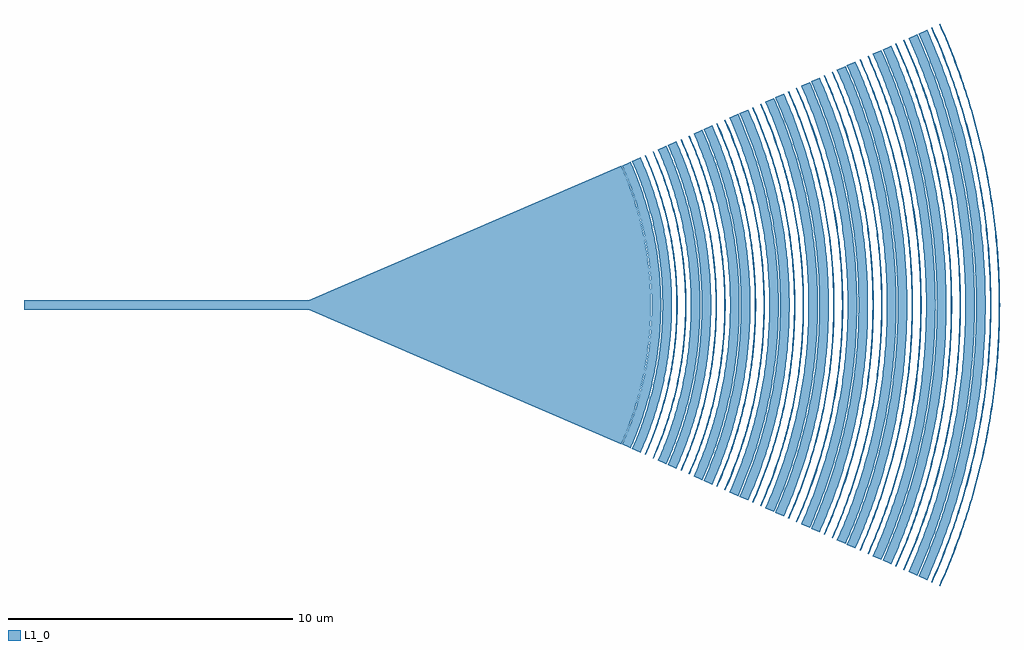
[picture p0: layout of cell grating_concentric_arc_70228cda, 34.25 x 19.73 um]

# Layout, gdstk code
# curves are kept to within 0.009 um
import gdstk
lib = gdstk.Library(unit=1e-6, precision=1e-09)
def R(c, l, rs):  # rectangles x0, y0, x1, y1
    for r in rs: c.add(gdstk.rectangle(r[:2], r[2:], *l))
def P(c, l, *ps):  # polygons
    for p in ps: c.add(gdstk.Polygon(p, *l))
L1_0 = (1, 0)

straight_3aa2beef = lib.new_cell('straight_3aa2beef')
R(straight_3aa2beef, L1_0, [(0,-0.175,10,0.175)])

ring_bc5f6871_transform_ = lib.new_cell('ring_bc5f6871_transform_660b93e4')
P(ring_bc5f6871_transform_, L1_0, [(10.986,-4.891),(11.202,-4.375),(11.416,-3.783),(11.579,-3.248),(11.718,-2.705),(11.831,-2.157),(11.919,-1.604),(11.992,-0.909),(12.019,-0.42),(12.023,0.28),(11.992,0.909),(11.919,1.604),(11.792,2.363),(11.652,2.977),(11.459,3.65),(11.277,4.179),(10.986,4.891),(11.288,5.026),(11.561,4.361),(11.795,3.681),(11.989,2.989),(12.143,2.287),(12.246,1.648),(12.321,0.934),(12.353,0.288),(12.349,-0.431),(12.296,-1.22),(12.181,-2.075),(12.023,-2.85),(11.816,-3.613),(11.561,-4.361),(11.288,-5.026)])

ring_9422eaae_transform_ = lib.new_cell('ring_9422eaae_transform_814ac0fe')
P(ring_9422eaae_transform_, L1_0, [(11.335,-5.047),(11.532,-4.581),(11.732,-4.04),(11.928,-3.42),(12.074,-2.862),(12.22,-2.155),(12.307,-1.584),(12.373,-0.938),(12.401,-0.433),(12.405,0.289),(12.373,0.938),(12.307,1.584),(12.194,2.297),(12.04,3.002),(11.845,3.697),(11.61,4.379),(11.335,5.047),(11.637,5.181),(11.892,4.565),(12.16,3.795),(12.342,3.154),(12.49,2.503),(12.604,1.846),(12.69,1.11),(12.733,0.37),(12.733,-0.37),(12.676,-1.258),(12.57,-2.066),(12.395,-2.938),(12.182,-3.724),(11.97,-4.357),(11.637,-5.181)])

ring_9049fbea_transform_ = lib.new_cell('ring_9049fbea_transform_e01216b0')
P(ring_9049fbea_transform_, L1_0, [(11.782,-5.246),(11.93,-4.901),(12.067,-4.552),(12.17,-4.27),(12.289,-3.914),(12.377,-3.627),(12.496,-3.193),(12.631,-2.608),(12.688,-2.313),(12.75,-1.943),(12.792,-1.646),(12.834,-1.273),(12.866,-0.9),(12.883,-0.6),(12.897,-0.075),(12.894,0.3),(12.883,0.6),(12.866,0.9),(12.834,1.273),(12.792,1.646),(12.75,1.943),(12.646,2.534),(12.567,2.901),(12.496,3.193),(12.334,3.771),(12.219,4.128),(12.067,4.552),(11.93,4.901),(11.782,5.246),(11.819,5.262),(12.051,4.706),(12.183,4.354),(12.281,4.069),(12.394,3.71),(12.477,3.421),(12.571,3.057),(12.655,2.69),(12.741,2.247),(12.79,1.949),(12.841,1.577),(12.874,1.277),(12.906,0.902),(12.923,0.602),(12.934,0.301),(12.937,-0.075),(12.932,-0.376),(12.911,-0.827),(12.888,-1.128),(12.85,-1.502),(12.801,-1.875),(12.754,-2.172),(12.639,-2.763),(12.535,-3.203),(12.457,-3.494),(12.35,-3.854),(12.208,-4.283),(12.023,-4.777),(11.819,-5.262)])

ring_10f3b8c3_transform_ = lib.new_cell('ring_10f3b8c3_transform_cc2e47a6')
P(ring_10f3b8c3_transform_, L1_0, [(12.061,-5.37),(12.213,-5.017),(12.326,-4.731),(12.533,-4.153),(12.626,-3.86),(12.733,-3.491),(12.882,-2.895),(12.975,-2.444),(13.028,-2.141),(13.114,-1.533),(13.153,-1.151),(13.181,-0.768),(13.195,-0.461),(13.203,-0.077),(13.201,0.23),(13.189,0.614),(13.171,0.921),(13.131,1.38),(13.052,1.989),(12.989,2.368),(12.93,2.67),(12.865,2.97),(12.792,3.269),(12.626,3.86),(12.533,4.153),(12.407,4.516),(12.242,4.946),(12.061,5.37),(12.098,5.386),(12.336,4.818),(12.571,4.166),(12.687,3.798),(12.772,3.502),(12.85,3.204),(12.954,2.753),(13.042,2.3),(13.092,1.996),(13.135,1.69),(13.186,1.231),(13.229,0.616),(13.241,0.231),(13.243,-0.077),(13.235,-0.462),(13.221,-0.77),(13.193,-1.154),(13.162,-1.461),(13.125,-1.767),(13.068,-2.148),(13,-2.527),(12.921,-2.904),(12.772,-3.502),(12.642,-3.945),(12.522,-4.312),(12.336,-4.818),(12.16,-5.245),(12.098,-5.386)])

ring_108499d5_transform_ = lib.new_cell('ring_108499d5_transform_c5bb48a8')
P(ring_108499d5_transform_, L1_0, [(12.243,-5.451),(12.484,-4.876),(12.722,-4.216),(12.883,-3.694),(13.041,-3.091),(13.185,-2.404),(13.282,-1.788),(13.351,-1.168),(13.394,-0.468),(13.4,0.234),(13.364,1.013),(13.282,1.788),(13.156,2.557),(12.985,3.318),(12.77,4.067),(12.512,4.803),(12.243,5.451),(12.545,5.585),(12.876,4.772),(13.132,4.015),(13.324,3.322),(13.48,2.62),(13.62,1.753),(13.693,1.038),(13.73,0.24),(13.724,-0.479),(13.665,-1.356),(13.563,-2.148),(13.398,-3.011),(13.178,-3.862),(12.904,-4.697),(12.545,-5.585)])

ring_e48c460f_transform_ = lib.new_cell('ring_e48c460f_transform_258c2d6b')
P(ring_e48c460f_transform_, L1_0, [(12.592,-5.606),(12.84,-5.015),(13.059,-4.412),(13.272,-3.722),(13.431,-3.101),(13.575,-2.394),(13.661,-1.839),(13.732,-1.201),(13.776,-0.481),(13.782,0.241),(13.745,1.042),(13.661,1.839),(13.531,2.63),(13.375,3.335),(13.158,4.107),(12.869,4.94),(12.592,5.606),(12.894,5.741),(13.177,5.058),(13.473,4.205),(13.675,3.494),(13.855,2.693),(13.999,1.802),(14.074,1.066),(14.112,0.246),(14.108,-0.411),(14.08,-0.985),(14.037,-1.475),(13.914,-2.37),(13.734,-3.255),(13.521,-4.048),(13.235,-4.904),(12.894,-5.741)])

ring_d2db16e5_transform_ = lib.new_cell('ring_d2db16e5_transform_b4624d32')
P(ring_d2db16e5_transform_, L1_0, [(13.039,-5.805),(13.171,-5.5),(13.325,-5.115),(13.468,-4.725),(13.6,-4.332),(13.787,-3.694),(13.944,-3.049),(14.011,-2.723),(14.084,-2.315),(14.134,-1.986),(14.186,-1.574),(14.219,-1.244),(14.249,-0.83),(14.267,-0.415),(14.273,-0.083),(14.261,0.581),(14.244,0.913),(14.219,1.244),(14.186,1.574),(14.134,1.986),(14.084,2.315),(13.995,2.805),(13.926,3.13),(13.829,3.533),(13.743,3.854),(13.625,4.252),(13.522,4.568),(13.384,4.96),(13.234,5.347),(13.039,5.805),(13.076,5.822),(13.208,5.516),(13.392,5.052),(13.613,4.423),(13.804,3.785),(13.908,3.382),(14,2.976),(14.066,2.649),(14.124,2.321),(14.174,1.992),(14.235,1.496),(14.266,1.164),(14.298,0.666),(14.311,0.25),(14.313,-0.083),(14.307,-0.416),(14.289,-0.832),(14.266,-1.164),(14.226,-1.579),(14.174,-1.992),(14.124,-2.321),(14.066,-2.649),(13.965,-3.139),(13.868,-3.543),(13.759,-3.945),(13.613,-4.423),(13.506,-4.739),(13.302,-5.284),(13.076,-5.822)])

ring_d92fad2c_transform_ = lib.new_cell('ring_d92fad2c_transform_edd6bd95')
P(ring_d92fad2c_transform_, L1_0, [(13.318,-5.93),(13.453,-5.618),(13.58,-5.304),(13.7,-4.986),(13.839,-4.586),(13.99,-4.1),(14.104,-3.691),(14.186,-3.362),(14.278,-2.948),(14.399,-2.281),(14.437,-2.029),(14.499,-1.524),(14.537,-1.102),(14.559,-0.763),(14.573,-0.424),(14.579,0),(14.573,0.424),(14.559,0.763),(14.537,1.102),(14.499,1.524),(14.437,2.029),(14.399,2.281),(14.278,2.948),(14.146,3.527),(14.06,3.855),(13.942,4.262),(13.812,4.666),(13.641,5.145),(13.453,5.618),(13.318,5.93),(13.355,5.946),(13.49,5.634),(13.648,5.239),(13.766,4.92),(13.929,4.437),(14.053,4.03),(14.121,3.784),(14.225,3.371),(14.317,2.956),(14.397,2.539),(14.465,2.119),(14.51,1.782),(14.556,1.359),(14.589,0.935),(14.607,0.595),(14.617,0.255),(14.619,-0.085),(14.613,-0.425),(14.599,-0.765),(14.577,-1.105),(14.53,-1.613),(14.465,-2.119),(14.397,-2.539),(14.334,-2.873),(14.263,-3.206),(14.185,-3.537),(14.076,-3.948),(13.955,-4.355),(13.85,-4.679),(13.648,-5.239),(13.457,-5.712),(13.355,-5.946)])

ring_c6a823f2_transform_ = lib.new_cell('ring_c6a823f2_transform_b9f9d562')
P(ring_c6a823f2_transform_, L1_0, [(13.5,-6.011),(13.827,-5.216),(14.028,-4.648),(14.229,-3.991),(14.399,-3.324),(14.538,-2.651),(14.668,-1.801),(14.736,-1.117),(14.772,-0.43),(14.772,0.43),(14.722,1.288),(14.622,2.142),(14.49,2.904),(14.318,3.658),(14.081,4.485),(13.827,5.216),(13.5,6.011),(13.802,6.145),(14.136,5.332),(14.368,4.669),(14.593,3.91),(14.796,3.055),(14.961,2.103),(15.058,1.229),(15.099,0.527),(15.104,-0.352),(15.058,-1.229),(15.006,-1.754),(14.935,-2.277),(14.778,-3.141),(14.546,-4.08),(14.422,-4.501),(14.197,-5.167),(14.008,-5.659),(13.802,-6.145)])

ring_ff4eb2f2_transform_ = lib.new_cell('ring_ff4eb2f2_transform_92466b3c')
P(ring_ff4eb2f2_transform_, L1_0, [(13.849,-6.166),(14.153,-5.433),(14.418,-4.685),(14.597,-4.094),(14.791,-3.324),(14.945,-2.546),(15.047,-1.848),(15.117,-1.145),(15.156,-0.353),(15.151,0.529),(15.11,1.233),(15,2.197),(14.847,3.066),(14.666,3.838),(14.418,4.685),(14.153,5.433),(13.849,6.166),(14.151,6.3),(14.429,5.635),(14.732,4.787),(15.008,3.835),(15.188,3.044),(15.339,2.156),(15.439,1.26),(15.486,0.36),(15.486,-0.36),(15.439,-1.26),(15.385,-1.798),(15.313,-2.334),(15.239,-2.778),(15.113,-3.397),(14.89,-4.27),(14.732,-4.787),(14.556,-5.298),(14.362,-5.803),(14.151,-6.3)])

ring_7f2c7f43_transform_ = lib.new_cell('ring_7f2c7f43_transform_a85783c4')
P(ring_7f2c7f43_transform_, L1_0, [(14.296,-6.365),(14.44,-6.031),(14.577,-5.693),(14.736,-5.267),(14.883,-4.836),(15.017,-4.401),(15.116,-4.05),(15.206,-3.697),(15.288,-3.343),(15.427,-2.628),(15.484,-2.268),(15.543,-1.817),(15.581,-1.455),(15.617,-1.001),(15.636,-0.637),(15.649,-0.091),(15.645,0.364),(15.632,0.728),(15.611,1.092),(15.581,1.455),(15.543,1.817),(15.484,2.268),(15.427,2.628),(15.344,3.075),(15.248,3.52),(15.162,3.874),(15.043,4.313),(14.965,4.575),(14.826,5.009),(14.674,5.438),(14.475,5.946),(14.296,6.365),(14.333,6.381),(14.512,5.962),(14.647,5.622),(14.774,5.28),(14.949,4.761),(15.056,4.412),(15.178,3.972),(15.287,3.529),(15.365,3.173),(15.451,2.724),(15.51,2.364),(15.561,2.003),(15.603,1.64),(15.651,1.094),(15.672,0.73),(15.687,0.274),(15.689,-0.091),(15.676,-0.639),(15.657,-1.003),(15.593,-1.731),(15.549,-2.093),(15.496,-2.454),(15.418,-2.904),(15.327,-3.351),(15.201,-3.884),(15.106,-4.237),(15.03,-4.5),(14.864,-5.021),(14.647,-5.622),(14.442,-6.13),(14.333,-6.381)])

ring_7084ca4e_transform_ = lib.new_cell('ring_7084ca4e_transform_f66058c9')
P(ring_7084ca4e_transform_, L1_0, [(14.575,-6.489),(14.758,-6.063),(14.895,-5.718),(15.055,-5.282),(15.174,-4.93),(15.311,-4.487),(15.435,-4.04),(15.525,-3.679),(15.606,-3.317),(15.696,-2.862),(15.758,-2.496),(15.836,-1.944),(15.877,-1.575),(15.909,-1.206),(15.933,-0.835),(15.948,-0.464),(15.955,0),(15.948,0.464),(15.933,0.835),(15.909,1.206),(15.877,1.575),(15.836,1.944),(15.758,2.496),(15.696,2.862),(15.625,3.226),(15.525,3.679),(15.435,4.04),(15.337,4.398),(15.23,4.753),(15.055,5.282),(14.928,5.631),(14.758,6.063),(14.575,6.489),(14.612,6.506),(14.899,5.819),(15.062,5.383),(15.212,4.943),(15.323,4.587),(15.45,4.14),(15.564,3.689),(15.626,3.416),(15.701,3.052),(15.798,2.502),(15.852,2.134),(15.907,1.672),(15.942,1.301),(15.973,0.837),(15.988,0.465),(15.995,0),(15.988,-0.465),(15.973,-0.837),(15.942,-1.301),(15.907,-1.672),(15.852,-2.134),(15.798,-2.502),(15.701,-3.052),(15.626,-3.416),(15.497,-3.96),(15.375,-4.409),(15.212,-4.943),(15.093,-5.295),(14.899,-5.819),(14.687,-6.335),(14.612,-6.506)])

ring_89918972_transform_ = lib.new_cell('ring_89918972_transform_edba0638')
P(ring_89918972_transform_, L1_0, [(14.757,-6.57),(15.047,-5.877),(15.334,-5.081),(15.579,-4.272),(15.74,-3.634),(15.892,-2.898),(16.033,-1.969),(16.1,-1.314),(16.147,-0.47),(16.147,0.47),(16.1,1.314),(15.983,2.341),(15.839,3.174),(15.651,3.999),(15.392,4.902),(15.081,5.789),(14.757,6.57),(15.059,6.704),(15.423,5.818),(15.735,4.911),(15.994,3.988),(16.181,3.145),(16.31,2.389),(16.429,1.341),(16.477,0.479),(16.477,-0.479),(16.421,-1.437),(16.31,-2.389),(16.143,-3.333),(15.897,-4.359),(15.677,-5.094),(15.49,-5.638),(15.319,-6.086),(15.059,-6.704)])

ring_e80e56b2_transform_ = lib.new_cell('ring_e80e56b2_transform_6378aeb5')
P(ring_e80e56b2_transform_, L1_0, [(15.106,-6.726),(15.403,-6.016),(15.666,-5.292),(15.895,-4.558),(16.112,-3.72),(16.268,-2.966),(16.388,-2.206),(16.481,-1.345),(16.529,-0.481),(16.529,0.481),(16.481,1.345),(16.375,2.301),(16.232,3.155),(16.021,4.094),(15.756,5.018),(15.472,5.836),(15.106,6.726),(15.408,6.86),(15.746,6.044),(16.1,5.025),(16.365,4.08),(16.556,3.218),(16.702,2.347),(16.802,1.47),(16.859,0.491),(16.859,-0.491),(16.802,-1.47),(16.688,-2.444),(16.497,-3.507),(16.239,-4.554),(16.04,-5.212),(15.849,-5.768),(15.638,-6.318),(15.408,-6.86)])

ring_321dfc1c_transform_ = lib.new_cell('ring_321dfc1c_transform_615f536a')
P(ring_321dfc1c_transform_, L1_0, [(15.553,-6.925),(15.71,-6.561),(15.894,-6.101),(16.032,-5.73),(16.161,-5.355),(16.281,-4.978),(16.419,-4.502),(16.543,-4.022),(16.653,-3.54),(16.749,-3.054),(16.815,-2.663),(16.859,-2.369),(16.921,-1.878),(16.96,-1.484),(16.996,-0.99),(17.02,-0.396),(17.025,0),(17.02,0.396),(16.996,0.99),(16.96,1.484),(16.921,1.878),(16.859,2.369),(16.815,2.663),(16.749,3.054),(16.653,3.54),(16.566,3.926),(16.47,4.311),(16.338,4.788),(16.252,5.072),(16.065,5.636),(15.929,6.009),(15.748,6.469),(15.553,6.925),(15.589,6.941),(15.785,6.485),(15.967,6.023),(16.135,5.556),(16.23,5.273),(16.404,4.704),(16.509,4.321),(16.605,3.935),(16.692,3.548),(16.77,3.159),(16.855,2.67),(16.899,2.375),(16.961,1.882),(17,1.487),(17.036,0.992),(17.058,0.496),(17.065,0),(17.058,-0.496),(17.036,-0.992),(17,-1.487),(16.961,-1.882),(16.899,-2.375),(16.839,-2.768),(16.77,-3.159),(16.671,-3.645),(16.534,-4.225),(16.431,-4.608),(16.29,-5.084),(16.135,-5.556),(15.967,-6.023),(15.708,-6.668),(15.589,-6.941)])

ring_e9e801ea_transform_ = lib.new_cell('ring_e9e801ea_transform_d64e931f')
P(ring_e9e801ea_transform_, L1_0, [(15.832,-7.049),(15.992,-6.679),(16.143,-6.305),(16.251,-6.022),(16.451,-5.451),(16.573,-5.067),(16.714,-4.583),(16.84,-4.095),(16.952,-3.603),(17.031,-3.208),(17.101,-2.811),(17.176,-2.312),(17.225,-1.912),(17.273,-1.41),(17.307,-0.907),(17.326,-0.403),(17.33,-0.101),(17.326,0.403),(17.312,0.806),(17.281,1.309),(17.246,1.711),(17.189,2.212),(17.133,2.611),(17.049,3.109),(16.972,3.505),(16.816,4.193),(16.714,4.583),(16.573,5.067),(16.419,5.547),(16.251,6.022),(15.992,6.679),(15.832,7.049),(15.869,7.065),(16.068,6.601),(16.217,6.225),(16.391,5.751),(16.489,5.464),(16.612,5.079),(16.779,4.496),(16.879,4.104),(16.991,3.612),(17.089,3.116),(17.141,2.817),(17.215,2.317),(17.265,1.916),(17.313,1.413),(17.347,0.909),(17.366,0.404),(17.371,0),(17.366,-0.404),(17.347,-0.909),(17.313,-1.413),(17.265,-1.916),(17.215,-2.317),(17.141,-2.817),(17.032,-3.414),(16.97,-3.71),(16.855,-4.202),(16.725,-4.691),(16.612,-5.079),(16.457,-5.56),(16.253,-6.131),(15.99,-6.787),(15.869,-7.065)])

ring_fa41a8f5_transform_ = lib.new_cell('ring_fa41a8f5_transform_02f88ba3')
P(ring_fa41a8f5_transform_, L1_0, [(16.014,-7.13),(16.365,-6.282),(16.64,-5.514),(16.878,-4.734),(17.103,-3.844),(17.281,-2.943),(17.399,-2.136),(17.487,-1.223),(17.525,-0.408),(17.519,0.612),(17.463,1.528),(17.359,2.44),(17.188,3.445),(16.984,4.34),(16.703,5.32),(16.365,6.282),(16.014,7.13),(16.315,7.264),(16.52,6.786),(16.747,6.206),(17.017,5.42),(17.304,4.421),(17.511,3.51),(17.656,2.691),(17.782,1.66),(17.849,0.623),(17.855,-0.416),(17.823,-1.142),(17.782,-1.66),(17.656,-2.691),(17.469,-3.713),(17.224,-4.723),(17.017,-5.42),(16.818,-6.011),(16.598,-6.594),(16.315,-7.264)])

ring_5dd9466e_transform_ = lib.new_cell('ring_5dd9466e_transform_71c2ce95')
P(ring_5dd9466e_transform_, L1_0, [(16.363,-7.285),(16.722,-6.419),(17.035,-5.535),(17.274,-4.736),(17.476,-3.928),(17.657,-3.008),(17.778,-2.183),(17.868,-1.249),(17.907,-0.417),(17.901,0.625),(17.834,1.665),(17.707,2.699),(17.542,3.622),(17.328,4.535),(17.067,5.436),(16.759,6.322),(16.363,7.285),(16.665,7.42),(17.068,6.438),(17.349,5.637),(17.535,5.028),(17.674,4.516),(17.886,3.585),(18.049,2.644),(18.163,1.696),(18.211,1.061),(18.234,0.531),(18.237,-0.424),(18.181,-1.484),(18.118,-2.118),(18.049,-2.644),(17.865,-3.689),(17.75,-4.207),(17.592,-4.824),(17.413,-5.435),(17.213,-6.039),(16.953,-6.735),(16.665,-7.42)])

ring_66498925_transform_ = lib.new_cell('ring_66498925_transform_d37520c2')
P(ring_66498925_transform_, L1_0, [(16.81,-7.484),(16.938,-7.19),(17.14,-6.694),(17.291,-6.293),(17.467,-5.788),(17.565,-5.482),(17.717,-4.969),(17.854,-4.451),(17.976,-3.93),(18.083,-3.406),(18.157,-2.984),(18.236,-2.455),(18.3,-1.923),(18.348,-1.39),(18.381,-0.856),(18.4,-0.107),(18.398,0.321),(18.381,0.856),(18.356,1.284),(18.311,1.817),(18.25,2.349),(18.206,2.667),(18.121,3.195),(18.042,3.616),(17.953,4.035),(17.828,4.555),(17.688,5.072),(17.565,5.482),(17.433,5.889),(17.254,6.394),(17.061,6.893),(16.81,7.484),(16.846,7.5),(16.975,7.205),(17.216,6.609),(17.365,6.206),(17.505,5.8),(17.635,5.392),(17.756,4.98),(17.893,4.461),(18.038,3.834),(18.142,3.308),(18.214,2.885),(18.29,2.354),(18.34,1.928),(18.388,1.393),(18.421,0.858),(18.436,0.429),(18.441,0),(18.436,-0.429),(18.421,-0.858),(18.388,-1.393),(18.34,-1.928),(18.29,-2.354),(18.214,-2.885),(18.142,-3.308),(18.038,-3.834),(17.893,-4.461),(17.756,-4.98),(17.635,-5.392),(17.471,-5.902),(17.216,-6.609),(16.975,-7.205),(16.846,-7.5)])

ring_fd512b4f_transform_ = lib.new_cell('ring_fd512b4f_transform_8854f068')
P(ring_fd512b4f_transform_, L1_0, [(17.089,-7.609),(17.303,-7.108),(17.464,-6.704),(17.615,-6.296),(17.791,-5.781),(17.951,-5.261),(18.069,-4.842),(18.177,-4.42),(18.275,-3.996),(18.363,-3.569),(18.459,-3.034),(18.539,-2.496),(18.592,-2.064),(18.635,-1.63),(18.675,-1.088),(18.695,-0.653),(18.706,-0.109),(18.701,0.435),(18.681,0.979),(18.653,1.413),(18.615,1.847),(18.567,2.28),(18.493,2.819),(18.403,3.355),(18.32,3.783),(18.227,4.208),(18.097,4.736),(17.982,5.156),(17.857,5.573),(17.687,6.09),(17.503,6.602),(17.303,7.108),(17.089,7.609),(17.126,7.625),(17.34,7.124),(17.462,6.82),(17.653,6.309),(17.829,5.793),(17.959,5.377),(18.108,4.852),(18.216,4.429),(18.337,3.898),(18.442,3.363),(18.516,2.933),(18.579,2.501),(18.644,1.96),(18.693,1.416),(18.721,0.981),(18.744,0.327),(18.746,-0.109),(18.735,-0.654),(18.715,-1.09),(18.693,-1.416),(18.644,-1.96),(18.579,-2.501),(18.516,-2.933),(18.402,-3.577),(18.314,-4.004),(18.216,-4.429),(18.108,-4.852),(17.959,-5.377),(17.795,-5.897),(17.616,-6.412),(17.34,-7.124),(17.126,-7.625)])

ring_4e32d0f4_transform_ = lib.new_cell('ring_4e32d0f4_transform_96d36480')
P(ring_4e32d0f4_transform_, L1_0, [(17.271,-7.689),(17.65,-6.775),(17.946,-5.947),(18.203,-5.105),(18.421,-4.253),(18.599,-3.391),(18.751,-2.413),(18.843,-1.538),(18.9,-0.44),(18.894,0.66),(18.843,1.538),(18.79,2.085),(18.706,2.74),(18.537,3.715),(18.317,4.68),(18.014,5.737),(17.65,6.775),(17.271,7.689),(17.572,7.824),(17.958,6.893),(18.294,5.944),(18.58,4.978),(18.838,3.89),(19.016,2.898),(19.152,1.788),(19.224,0.671),(19.23,-0.448),(19.172,-1.565),(19.118,-2.122),(19.016,-2.898),(18.815,-3.999),(18.551,-5.086),(18.362,-5.731),(18.151,-6.368),(17.835,-7.206),(17.572,-7.824)])

ring_c16440bc_transform_ = lib.new_cell('ring_c16440bc_transform_3e68f9c9')
P(ring_c16440bc_transform_, L1_0, [(17.62,-7.845),(17.966,-7.017),(18.273,-6.173),(18.571,-5.208),(18.818,-4.229),(19.014,-3.239),(19.144,-2.351),(19.232,-1.457),(19.282,-0.449),(19.282,0.449),(19.248,1.233),(19.17,2.128),(19.05,3.017),(18.933,3.68),(18.818,4.229),(18.687,4.775),(18.509,5.424),(18.273,6.173),(18.086,6.702),(17.841,7.329),(17.62,7.845),(17.921,7.979),(18.355,6.924),(18.727,5.845),(19.007,4.857),(19.235,3.855),(19.41,2.843),(19.543,1.71),(19.609,0.571),(19.612,-0.456),(19.591,-1.027),(19.543,-1.71),(19.41,-2.843),(19.299,-3.519),(19.189,-4.079),(18.949,-5.077),(18.727,-5.845),(18.511,-6.495),(18.189,-7.349),(17.921,-7.979)])

ring_cf99d2fc_transform_ = lib.new_cell('ring_cf99d2fc_transform_d0d0eaf5')
P(ring_cf99d2fc_transform_, L1_0, [(18.067,-8.044),(18.293,-7.515),(18.463,-7.087),(18.623,-6.656),(18.773,-6.221),(18.946,-5.672),(19.042,-5.34),(19.189,-4.784),(19.32,-4.224),(19.435,-3.66),(19.515,-3.207),(19.6,-2.638),(19.656,-2.182),(19.711,-1.609),(19.743,-1.15),(19.768,-0.575),(19.776,-0.115),(19.771,0.46),(19.755,0.92),(19.72,1.494),(19.68,1.953),(19.615,2.524),(19.551,2.98),(19.456,3.547),(19.368,3.999),(19.243,4.561),(19.132,5.007),(18.978,5.562),(18.844,6.002),(18.699,6.439),(18.504,6.98),(18.293,7.515),(18.067,8.044),(18.103,8.06),(18.286,7.637),(18.459,7.209),(18.699,6.56),(18.847,6.124),(19.017,5.573),(19.171,5.017),(19.309,4.458),(19.407,4.007),(19.495,3.555),(19.59,2.986),(19.669,2.415),(19.72,1.957),(19.76,1.497),(19.795,0.922),(19.811,0.461),(19.816,-0.115),(19.808,-0.576),(19.783,-1.152),(19.751,-1.612),(19.708,-2.071),(19.624,-2.758),(19.554,-3.214),(19.474,-3.668),(19.359,-4.233),(19.2,-4.906),(19.049,-5.462),(18.917,-5.904),(18.737,-6.452),(18.5,-7.102),(18.286,-7.637),(18.103,-8.06)])

ring_c75a938b_transform_ = lib.new_cell('ring_c75a938b_transform_d5d8ba9d')
P(ring_c75a938b_transform_, L1_0, [(18.346,-8.168),(18.486,-7.847),(18.706,-7.306),(18.911,-6.759),(19.063,-6.317),(19.272,-5.648),(19.398,-5.198),(19.514,-4.745),(19.619,-4.29),(19.735,-3.717),(19.835,-3.142),(19.903,-2.679),(19.96,-2.215),(20.016,-1.634),(20.055,-1.051),(20.074,-0.584),(20.082,-0.117),(20.077,0.467),(20.055,1.051),(20.025,1.517),(19.984,1.983),(19.918,2.563),(19.853,3.026),(19.777,3.487),(19.691,3.946),(19.619,4.29),(19.486,4.858),(19.336,5.423),(19.205,5.871),(19.026,6.428),(18.79,7.088),(18.576,7.631),(18.346,8.168),(18.383,8.184),(18.613,7.646),(18.786,7.211),(18.909,6.882),(19.101,6.329),(19.277,5.771),(19.437,5.208),(19.58,4.641),(19.683,4.184),(19.775,3.725),(19.874,3.148),(19.958,2.568),(20.024,1.987),(20.065,1.52),(20.106,0.819),(20.117,0.468),(20.122,-0.117),(20.114,-0.585),(20.095,-1.053),(20.056,-1.637),(20.012,-2.103),(19.958,-2.568),(19.856,-3.263),(19.775,-3.725),(19.658,-4.298),(19.525,-4.868),(19.375,-5.434),(19.243,-5.883),(19.064,-6.44),(18.827,-7.102),(18.613,-7.646),(18.383,-8.184)])

ring_8dae4848_transform_ = lib.new_cell('ring_8dae4848_transform_5c84af6c')
P(ring_8dae4848_transform_, L1_0, [(18.528,-8.249),(18.934,-7.268),(19.252,-6.379),(19.528,-5.477),(19.788,-4.447),(19.973,-3.522),(20.13,-2.472),(20.232,-1.415),(20.276,-0.472),(20.276,0.472),(20.232,1.415),(20.144,2.354),(20.013,3.289),(19.788,4.447),(19.65,5.021),(19.463,5.704),(19.252,6.379),(19.058,6.937),(18.76,7.707),(18.528,8.249),(18.829,8.383),(19.285,7.274),(19.639,6.255),(19.97,5.103),(20.209,4.05),(20.411,2.869),(20.533,1.796),(20.599,0.719),(20.606,-0.48),(20.543,-1.677),(20.411,-2.869),(20.298,-3.579),(20.185,-4.168),(20.056,-4.753),(19.909,-5.335),(19.711,-6.026),(19.409,-6.937),(19.155,-7.61),(18.829,-8.383)])

ring_68513522_transform_ = lib.new_cell('ring_68513522_transform_51232a1e')
P(ring_68513522_transform_, L1_0, [(18.877,-8.405),(19.291,-7.405),(19.576,-6.614),(19.896,-5.58),(20.134,-4.648),(20.328,-3.706),(20.479,-2.757),(20.595,-1.681),(20.658,-0.481),(20.658,0.481),(20.613,1.441),(20.524,2.399),(20.39,3.351),(20.284,3.943),(20.134,4.648),(19.99,5.232),(19.795,5.926),(19.576,6.614),(19.376,7.18),(19.159,7.741),(18.877,8.405),(19.178,8.539),(19.599,7.523),(19.85,6.835),(20.04,6.255),(20.34,5.197),(20.584,4.126),(20.772,3.043),(20.865,2.316),(20.924,1.708),(20.988,0.488),(20.988,-0.488),(20.924,-1.708),(20.865,-2.316),(20.772,-3.043),(20.56,-4.245),(20.278,-5.433),(20.04,-6.255),(19.769,-7.065),(19.465,-7.864),(19.178,-8.539)])

ring_146a01e3_transform_ = lib.new_cell('ring_146a01e3_transform_ff34ed85')
P(ring_146a01e3_transform_, L1_0, [(19.323,-8.603),(19.471,-8.265),(19.703,-7.695),(19.877,-7.234),(20.079,-6.653),(20.264,-6.067),(20.431,-5.475),(20.582,-4.878),(20.69,-4.398),(20.787,-3.915),(20.892,-3.309),(20.963,-2.822),(21.023,-2.333),(21.072,-1.844),(21.109,-1.353),(21.135,-0.861),(21.152,-0.123),(21.149,0.369),(21.135,0.861),(21.101,1.476),(21.061,1.966),(21.009,2.456),(20.929,3.066),(20.852,3.552),(20.74,4.157),(20.61,4.758),(20.494,5.236),(20.333,5.83),(20.192,6.302),(20,6.886),(19.791,7.465),(19.566,8.038),(19.323,8.603),(19.36,8.62),(19.603,8.053),(19.785,7.595),(19.956,7.132),(20.117,6.666),(20.302,6.078),(20.438,5.604),(20.563,5.127),(20.729,4.406),(20.849,3.801),(20.969,3.071),(21.034,2.583),(21.089,2.093),(21.141,1.478),(21.175,0.863),(21.187,0.493),(21.192,-0.123),(21.175,-0.863),(21.149,-1.355),(21.112,-1.847),(21.063,-2.338),(21.003,-2.827),(20.912,-3.437),(20.803,-4.044),(20.677,-4.647),(20.533,-5.246),(20.405,-5.723),(20.23,-6.314),(20.038,-6.9),(19.785,-7.595),(19.508,-8.28),(19.36,-8.62)])

ring_ec5ba4e5_transform_ = lib.new_cell('ring_ec5ba4e5_transform_aad38ff0')
P(ring_ec5ba4e5_transform_, L1_0, [(19.603,-8.728),(19.801,-8.269),(20.033,-7.69),(20.248,-7.104),(20.408,-6.631),(20.592,-6.035),(20.727,-5.554),(20.88,-4.949),(20.963,-4.583),(21.064,-4.094),(21.174,-3.48),(21.266,-2.863),(21.327,-2.367),(21.387,-1.746),(21.422,-1.248),(21.445,-0.749),(21.458,-0.125),(21.455,0.374),(21.435,0.998),(21.397,1.621),(21.353,2.119),(21.298,2.615),(21.213,3.233),(21.11,3.849),(21.015,4.339),(20.88,4.949),(20.759,5.433),(20.627,5.915),(20.446,6.512),(20.248,7.104),(20.033,7.69),(19.801,8.269),(19.603,8.728),(19.639,8.744),(19.838,8.285),(20.115,7.587),(20.286,7.117),(20.446,6.643),(20.595,6.166),(20.766,5.564),(20.919,4.958),(21.054,4.347),(21.127,3.979),(21.253,3.239),(21.338,2.62),(21.393,2.123),(21.437,1.624),(21.475,1),(21.495,0.375),(21.498,-0.125),(21.489,-0.625),(21.462,-1.25),(21.427,-1.749),(21.367,-2.372),(21.289,-2.992),(21.193,-3.61),(21.127,-3.979),(21.002,-4.592),(20.919,-4.958),(20.733,-5.685),(20.559,-6.285),(20.367,-6.881),(20.115,-7.587),(19.838,-8.285),(19.639,-8.744)])

ring_49f4c272_transform_ = lib.new_cell('ring_49f4c272_transform_65fb3e10')
P(ring_49f4c272_transform_, L1_0, [(19.785,-8.809),(20.219,-7.761),(20.558,-6.812),(20.886,-5.727),(21.13,-4.749),(21.328,-3.761),(21.511,-2.514),(21.613,-1.385),(21.654,-0.378),(21.648,0.63),(21.595,1.636),(21.496,2.639),(21.349,3.637),(21.235,4.256),(21.102,4.872),(20.919,5.605),(20.711,6.332),(20.518,6.932),(20.219,7.761),(19.785,8.809),(20.086,8.943),(20.527,7.879),(20.747,7.279),(20.95,6.673),(21.271,5.567),(21.533,4.446),(21.653,3.818),(21.755,3.187),(21.892,2.044),(21.942,1.406),(21.974,0.767),(21.984,-0.384),(21.957,-1.151),(21.914,-1.789),(21.853,-2.425),(21.773,-3.06),(21.675,-3.692),(21.533,-4.446),(21.271,-5.567),(21.026,-6.428),(20.747,-7.279),(20.434,-8.118),(20.086,-8.943)])

ring_e0d085d4_transform_ = lib.new_cell('ring_e0d085d4_transform_a20280e1')
P(ring_e0d085d4_transform_, L1_0, [(20.134,-8.964),(20.529,-8.018),(20.88,-7.054),(21.076,-6.444),(21.255,-5.828),(21.503,-4.833),(21.726,-3.701),(21.875,-2.686),(21.944,-2.049),(21.994,-1.409),(22.036,-0.385),(22.03,0.641),(21.976,1.665),(21.875,2.686),(21.726,3.701),(21.584,4.457),(21.445,5.083),(21.255,5.828),(21.076,6.444),(20.88,7.054),(20.666,7.658),(20.386,8.375),(20.134,8.964),(20.435,9.098),(20.691,8.5),(20.93,7.895),(21.314,6.789),(21.503,6.166),(21.673,5.538),(21.933,4.396),(22.133,3.242),(22.218,2.597),(22.284,1.95),(22.351,0.911),(22.368,0.26),(22.366,-0.39),(22.315,-1.56),(22.247,-2.338),(22.169,-2.984),(21.983,-4.14),(21.825,-4.905),(21.673,-5.538),(21.392,-6.54),(21.108,-7.406),(20.789,-8.259),(20.435,-9.098)])

ring_7efba266_transform_ = lib.new_cell('ring_7efba266_transform_a758fd16')
P(ring_7efba266_transform_, L1_0, [(20.58,-9.163),(20.788,-8.682),(21.032,-8.073),(21.258,-7.458),(21.466,-6.837),(21.619,-6.335),(21.794,-5.704),(21.921,-5.195),(22.036,-4.684),(22.163,-4.041),(22.251,-3.524),(22.327,-3.005),(22.391,-2.485),(22.453,-1.833),(22.49,-1.31),(22.514,-0.786),(22.528,-0.131),(22.525,0.393),(22.504,1.048),(22.464,1.702),(22.418,2.224),(22.344,2.876),(22.271,3.395),(22.163,4.041),(22.063,4.556),(21.951,5.068),(21.794,5.704),(21.619,6.335),(21.466,6.837),(21.258,7.458),(21.032,8.073),(20.788,8.682),(20.58,9.163),(20.617,9.179),(20.825,8.697),(21.069,8.088),(21.252,7.595),(21.464,6.974),(21.694,6.221),(21.833,5.714),(21.99,5.077),(22.102,4.564),(22.248,3.79),(22.33,3.271),(22.384,2.881),(22.458,2.228),(22.504,1.705),(22.544,1.05),(22.565,0.394),(22.568,-0.131),(22.559,-0.656),(22.53,-1.312),(22.482,-1.967),(22.416,-2.62),(22.33,-3.271),(22.248,-3.79),(22.128,-4.435),(22.019,-4.949),(21.866,-5.587),(21.694,-6.221),(21.504,-6.849),(21.339,-7.347),(21.116,-7.965),(20.825,-8.697),(20.617,-9.179)])

ring_c6a7e577_transform_ = lib.new_cell('ring_c6a7e577_transform_97be9de6')
P(ring_c6a7e577_transform_, L1_0, [(20.86,-9.287),(21.121,-8.677),(21.317,-8.183),(21.502,-7.685),(21.757,-6.93),(21.875,-6.549),(22.056,-5.91),(22.218,-5.266),(22.335,-4.747),(22.439,-4.226),(22.553,-3.572),(22.63,-3.046),(22.709,-2.387),(22.769,-1.725),(22.809,-1.062),(22.828,-0.531),(22.834,0),(22.828,0.531),(22.809,1.062),(22.769,1.725),(22.709,2.387),(22.63,3.046),(22.553,3.572),(22.439,4.226),(22.335,4.747),(22.218,5.266),(22.056,5.91),(21.875,6.549),(21.757,6.93),(21.502,7.685),(21.317,8.183),(21.121,8.677),(20.86,9.287),(20.896,9.304),(21.056,8.938),(21.307,8.321),(21.54,7.698),(21.713,7.195),(21.913,6.56),(22.06,6.049),(22.226,5.404),(22.374,4.756),(22.503,4.103),(22.613,3.447),(22.687,2.92),(22.749,2.391),(22.809,1.728),(22.843,1.197),(22.868,0.532),(22.874,-0.133),(22.868,-0.532),(22.843,-1.197),(22.809,-1.728),(22.749,-2.391),(22.687,-2.92),(22.571,-3.71),(22.454,-4.365),(22.346,-4.886),(22.226,-5.404),(22.06,-6.049),(21.874,-6.688),(21.671,-7.321),(21.449,-7.948),(21.158,-8.692),(20.896,-9.304)])

ring_882cabd0_transform_ = lib.new_cell('ring_882cabd0_transform_7fef9b01')
P(ring_882cabd0_transform_, L1_0, [(21.042,-9.368),(21.455,-8.379),(21.864,-7.245),(22.213,-6.091),(22.472,-5.051),(22.706,-3.868),(22.861,-2.807),(22.977,-1.607),(23.027,-0.536),(23.027,0.536),(22.977,1.607),(22.877,2.674),(22.706,3.868),(22.584,4.526),(22.412,5.312),(22.248,5.961),(22.065,6.606),(21.864,7.245),(21.598,8.003),(21.356,8.628),(21.042,9.368),(21.343,9.503),(21.811,8.372),(22.045,7.735),(22.261,7.09),(22.602,5.915),(22.88,4.724),(23.096,3.52),(23.189,2.847),(23.262,2.172),(23.315,1.494),(23.349,0.815),(23.359,-0.408),(23.338,-1.087),(23.296,-1.765),(23.235,-2.442),(23.154,-3.117),(23.054,-3.789),(22.934,-4.458),(22.824,-4.99),(22.636,-5.784),(22.381,-6.701),(22.09,-7.606),(21.712,-8.626),(21.343,-9.503)])

ring_49a5cea8_transform_ = lib.new_cell('ring_49a5cea8_transform_26b22f11')
P(ring_49a5cea8_transform_, L1_0, [(21.391,-9.524),(21.86,-8.391),(22.269,-7.236),(22.617,-6.06),(22.875,-5.001),(23.105,-3.797),(23.257,-2.718),(23.358,-1.633),(23.409,-0.545),(23.409,0.545),(23.358,1.633),(23.257,2.718),(23.105,3.797),(22.985,4.468),(22.784,5.4),(22.617,6.06),(22.392,6.846),(22.183,7.494),(21.956,8.136),(21.659,8.898),(21.391,9.524),(21.692,9.658),(22.168,8.509),(22.583,7.338),(22.936,6.146),(23.105,5.476),(23.282,4.666),(23.408,3.987),(23.514,3.305),(23.655,2.07),(23.705,1.381),(23.735,0.691),(23.739,-0.553),(23.705,-1.381),(23.655,-2.07),(23.514,-3.305),(23.408,-3.987),(23.282,-4.666),(23.105,-5.476),(22.936,-6.146),(22.667,-7.074),(22.36,-7.991),(22.016,-8.895),(21.692,-9.658)])

ring_4e4042a5_transform_ = lib.new_cell('ring_4e4042a5_transform_d313c78a')
P(ring_4e4042a5_transform_, L1_0, [(21.837,-9.723),(22.058,-9.212),(22.366,-8.436),(22.556,-7.914),(22.734,-7.387),(22.9,-6.856),(23.125,-6.052),(23.26,-5.513),(23.41,-4.834),(23.516,-4.288),(23.61,-3.739),(23.69,-3.189),(23.773,-2.499),(23.836,-1.806),(23.871,-1.251),(23.894,-0.695),(23.904,0),(23.894,0.695),(23.871,1.251),(23.836,1.806),(23.773,2.499),(23.69,3.189),(23.61,3.739),(23.516,4.288),(23.41,4.834),(23.26,5.513),(23.16,5.918),(22.978,6.589),(22.818,7.122),(22.602,7.782),(22.366,8.436),(22.058,9.212),(21.837,9.723),(21.874,9.739),(22.095,9.227),(22.354,8.581),(22.594,7.927),(22.772,7.399),(22.898,7.001),(23.092,6.332),(23.299,5.522),(23.421,4.978),(23.556,4.295),(23.671,3.608),(23.748,3.056),(23.813,2.503),(23.876,1.809),(23.918,1.114),(23.94,0.418),(23.944,-0.139),(23.934,-0.696),(23.911,-1.253),(23.876,-1.809),(23.813,-2.503),(23.748,-3.056),(23.671,-3.608),(23.556,-4.295),(23.421,-4.978),(23.299,-5.522),(23.092,-6.332),(22.898,-7.001),(22.729,-7.531),(22.452,-8.32),(22.148,-9.099),(21.874,-9.739)])

ring_79a09810_transform_ = lib.new_cell('ring_79a09810_transform_484eeb2d')
P(ring_79a09810_transform_, L1_0, [(22.117,-9.847),(22.394,-9.2),(22.602,-8.676),(22.797,-8.148),(23.025,-7.481),(23.193,-6.943),(23.385,-6.266),(23.557,-5.583),(23.681,-5.033),(23.817,-4.343),(23.912,-3.787),(24.012,-3.09),(24.077,-2.531),(24.118,-2.11),(24.169,-1.408),(24.195,-0.845),(24.21,0),(24.195,0.845),(24.169,1.408),(24.118,2.11),(24.077,2.531),(24.012,3.09),(23.912,3.787),(23.817,4.343),(23.681,5.033),(23.557,5.583),(23.385,6.266),(23.233,6.808),(23.068,7.347),(22.891,7.882),(22.602,8.676),(22.394,9.2),(22.117,9.847),(22.153,9.863),(22.431,9.215),(22.639,8.69),(22.835,8.161),(23.063,7.494),(23.271,6.82),(23.46,6.14),(23.596,5.592),(23.72,5.042),(23.831,4.489),(23.929,3.933),(24.033,3.235),(24.117,2.535),(24.169,1.973),(24.217,1.269),(24.243,0.564),(24.25,0),(24.243,-0.564),(24.217,-1.269),(24.169,-1.973),(24.117,-2.535),(24.033,-3.235),(23.929,-3.933),(23.831,-4.489),(23.72,-5.042),(23.563,-5.73),(23.387,-6.412),(23.231,-6.955),(23.019,-7.628),(22.739,-8.426),(22.431,-9.215),(22.153,-9.863)])

grating_concentric_arc_7 = lib.new_cell('grating_concentric_arc_70228cda')
P(grating_concentric_arc_7, L1_0, [(0,0.175),(0,-0.175),(10.963,-4.881),(11.203,-4.3),(11.413,-3.708),(11.564,-3.207),(11.716,-2.597),(11.818,-2.084),(11.923,-1.358),(11.978,-0.733),(12,-0.105),(11.989,0.523),(11.945,1.15),(11.868,1.774),(11.738,2.495),(11.564,3.207),(11.413,3.708),(11.203,4.3),(10.963,4.881)])
grating_concentric_arc_7.add(gdstk.Reference(straight_3aa2beef, (-10,0)))
grating_concentric_arc_7.add(gdstk.Reference(ring_bc5f6871_transform_, (0,0)))
grating_concentric_arc_7.add(gdstk.Reference(ring_9422eaae_transform_, (0,0)))
grating_concentric_arc_7.add(gdstk.Reference(ring_9049fbea_transform_, (0,0)))
grating_concentric_arc_7.add(gdstk.Reference(ring_10f3b8c3_transform_, (0,0)))
grating_concentric_arc_7.add(gdstk.Reference(ring_108499d5_transform_, (0,0)))
grating_concentric_arc_7.add(gdstk.Reference(ring_e48c460f_transform_, (0,0)))
grating_concentric_arc_7.add(gdstk.Reference(ring_d2db16e5_transform_, (0,0)))
grating_concentric_arc_7.add(gdstk.Reference(ring_d92fad2c_transform_, (0,0)))
grating_concentric_arc_7.add(gdstk.Reference(ring_c6a823f2_transform_, (0,0)))
grating_concentric_arc_7.add(gdstk.Reference(ring_ff4eb2f2_transform_, (0,0)))
grating_concentric_arc_7.add(gdstk.Reference(ring_7f2c7f43_transform_, (0,0)))
grating_concentric_arc_7.add(gdstk.Reference(ring_7084ca4e_transform_, (0,0)))
grating_concentric_arc_7.add(gdstk.Reference(ring_89918972_transform_, (0,0)))
grating_concentric_arc_7.add(gdstk.Reference(ring_e80e56b2_transform_, (0,0)))
grating_concentric_arc_7.add(gdstk.Reference(ring_321dfc1c_transform_, (0,0)))
grating_concentric_arc_7.add(gdstk.Reference(ring_e9e801ea_transform_, (0,0)))
grating_concentric_arc_7.add(gdstk.Reference(ring_fa41a8f5_transform_, (0,0)))
grating_concentric_arc_7.add(gdstk.Reference(ring_5dd9466e_transform_, (0,0)))
grating_concentric_arc_7.add(gdstk.Reference(ring_66498925_transform_, (0,0)))
grating_concentric_arc_7.add(gdstk.Reference(ring_fd512b4f_transform_, (0,0)))
grating_concentric_arc_7.add(gdstk.Reference(ring_4e32d0f4_transform_, (0,0)))
grating_concentric_arc_7.add(gdstk.Reference(ring_c16440bc_transform_, (0,0)))
grating_concentric_arc_7.add(gdstk.Reference(ring_cf99d2fc_transform_, (0,0)))
grating_concentric_arc_7.add(gdstk.Reference(ring_c75a938b_transform_, (0,0)))
grating_concentric_arc_7.add(gdstk.Reference(ring_8dae4848_transform_, (0,0)))
grating_concentric_arc_7.add(gdstk.Reference(ring_68513522_transform_, (0,0)))
grating_concentric_arc_7.add(gdstk.Reference(ring_146a01e3_transform_, (0,0)))
grating_concentric_arc_7.add(gdstk.Reference(ring_ec5ba4e5_transform_, (0,0)))
grating_concentric_arc_7.add(gdstk.Reference(ring_49f4c272_transform_, (0,0)))
grating_concentric_arc_7.add(gdstk.Reference(ring_e0d085d4_transform_, (0,0)))
grating_concentric_arc_7.add(gdstk.Reference(ring_7efba266_transform_, (0,0)))
grating_concentric_arc_7.add(gdstk.Reference(ring_c6a7e577_transform_, (0,0)))
grating_concentric_arc_7.add(gdstk.Reference(ring_882cabd0_transform_, (0,0)))
grating_concentric_arc_7.add(gdstk.Reference(ring_49a5cea8_transform_, (0,0)))
grating_concentric_arc_7.add(gdstk.Reference(ring_4e4042a5_transform_, (0,0)))
grating_concentric_arc_7.add(gdstk.Reference(ring_79a09810_transform_, (0,0)))

lib.write_gds('grating_concentric_arc_70228cda.gds')
